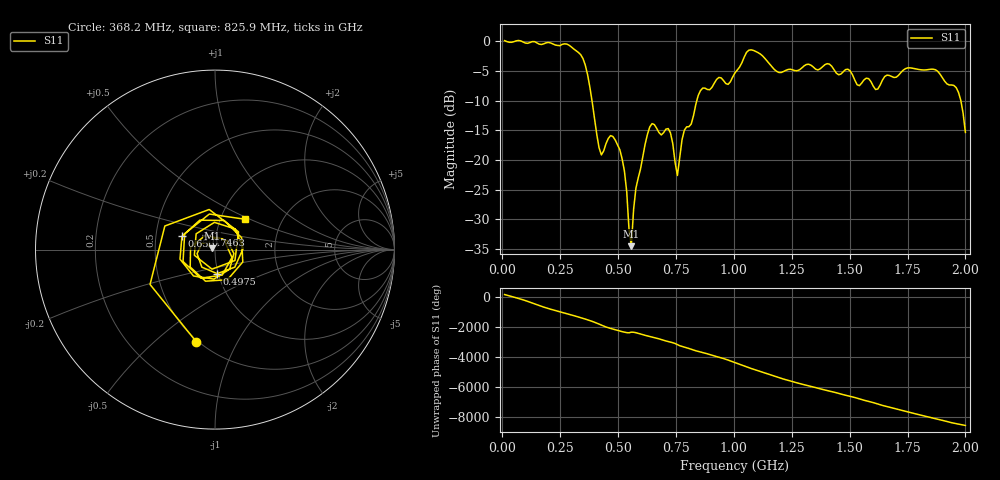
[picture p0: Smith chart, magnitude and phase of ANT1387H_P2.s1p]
!Created with skrf (http://scikit-rf.org).
# Hz S RI R 50.0
!freq ReS11 ImS11
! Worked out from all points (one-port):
!   201 points, 10 MHz to 2 GHz, reference 50 ohm
!   lowest |S11| = -34.5 dB at 557.2 MHz (marker M1), VSWR 1.04, Z = 48.3 + j0.737 ohm
!   |S11| at or under -10 dB: 387.3 MHz to 840.2 MHz (452.9 MHz wide, 73.8 % of centre); 1.98 GHz to end of sweep
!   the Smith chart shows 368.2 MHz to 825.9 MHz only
!   S11 on the Smith chart (normalised r, x): 368.2 MHz: 0.49, -0.69; 497.6 MHz: 0.99, -0.27; 656.8 MHz: 0.68, +0.10; 746.3 MHz: 0.89, +0.14; 825.9 MHz: 1.30, +0.47
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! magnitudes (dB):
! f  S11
! 10 MHz  0.1
! 258.8 MHz  -0.5
! 338.4 MHz  -2.3
! 368.2 MHz  -5.6
! 427.9 MHz  -19.1
! 467.7 MHz  -15.9
! 497.6 MHz  -17.4
! 507.5 MHz  -18.3
! 527.4 MHz  -21.8
! 557.2 MHz  -34.5
! 577.1 MHz  -24.7
! 626.9 MHz  -15.7
! 656.8 MHz  -14.0
! 716.5 MHz  -14.7
! 746.3 MHz  -20.4
! 756.2 MHz  -22.6
! 786.1 MHz  -15.0
! 825.9 MHz  -12.5
! 865.7 MHz  -7.9
! 1.005 GHz  -5.3
! 1.075 GHz  -1.5
! 1.254 GHz  -4.8
! 1.502 GHz  -5.0
! 1.612 GHz  -8.1
! 1.751 GHz  -4.5
! 1.96 GHz  -7.8
! 1.98 GHz  -10.0
! 2 GHz  -15.4
